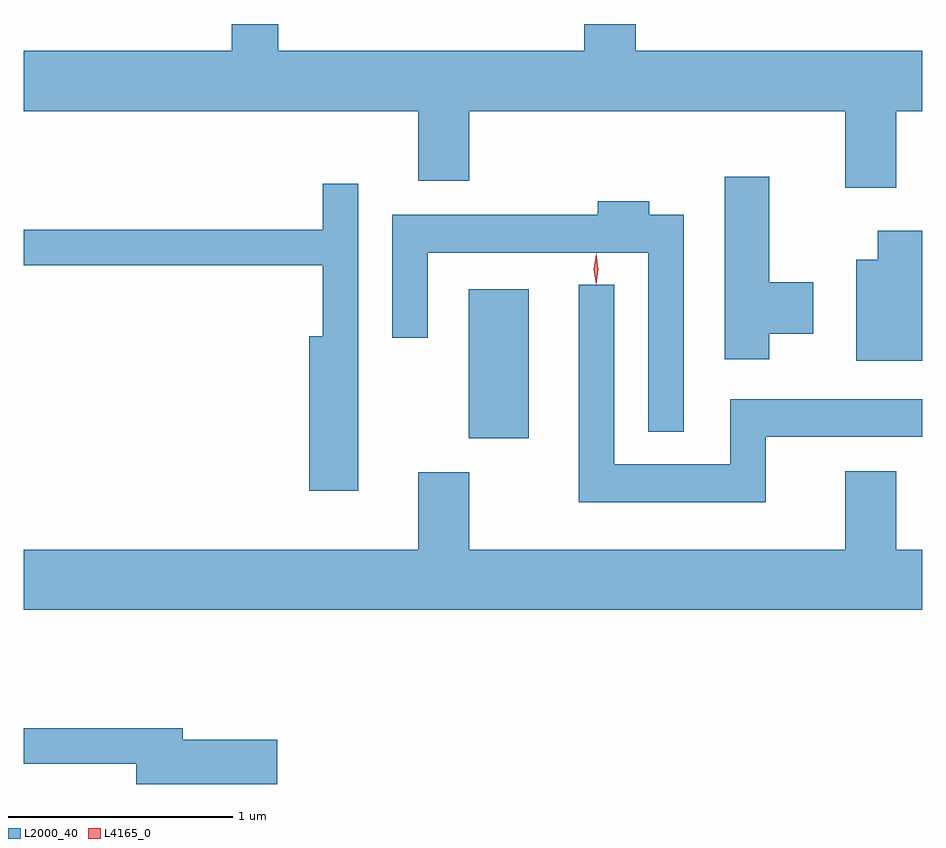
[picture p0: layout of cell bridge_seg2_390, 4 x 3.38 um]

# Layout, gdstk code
import gdstk
lib = gdstk.Library(unit=1e-6, precision=1e-09)
def R(c, l, rs):  # rectangles x0, y0, x1, y1
    for r in rs: c.add(gdstk.rectangle(r[:2], r[2:], *l))
def P(c, l, *ps):  # polygons
    for p in ps: c.add(gdstk.Polygon(p, *l))
L2000_40 = (2000, 40)
L4165_0 = (4165, 0)

bridge_seg2_390 = lib.new_cell('bridge_seg2_390')
R(bridge_seg2_390, L2000_40, [(631.146,1009.121,631.414,1009.784)])
P(bridge_seg2_390, L2000_40, [(633.049,1010.576),(633.165,1010.576),(633.165,1010.844),(631.889,1010.844),(631.889,1010.964),(631.661,1010.964),(631.661,1010.844),(630.299,1010.844),(630.299,1010.964),(630.091,1010.964),(630.091,1010.844),(629.165,1010.844),(629.165,1010.576),(630.921,1010.576),(630.921,1010.266),(631.149,1010.266),(631.149,1010.576),(632.821,1010.576),(632.821,1010.236),(633.049,1010.236)],
  [(632.484,1009.586),(632.679,1009.586),(632.679,1009.814),(632.484,1009.814),(632.484,1010.284),(632.286,1010.284),(632.286,1009.471),(632.484,1009.471)],
  [(630.654,1010.253),(630.496,1010.253),(630.496,1010.049),(629.165,1010.049),(629.165,1009.891),(630.496,1009.891),(630.496,1009.574),(630.436,1009.574),(630.436,1008.886),(630.654,1008.886)],
  [(632.104,1010.114),(631.949,1010.114),(631.949,1010.174),(631.721,1010.174),(631.721,1010.114),(630.806,1010.114),(630.806,1009.568),(630.964,1009.568),(630.964,1009.946),(631.946,1009.946),(631.946,1009.148),(632.104,1009.148)],
  [(633.165,1010.044),(632.966,1010.044),(632.966,1009.914),(632.871,1009.914),(632.871,1009.466),(633.165,1009.466)],
  [(632.469,1009.126),(633.165,1009.126),(633.165,1009.294),(632.311,1009.294),(632.311,1009.004),(631.794,1009.004),(631.794,1009.803),(631.636,1009.803),(631.636,1008.836),(632.469,1008.836)],
  [(633.165,1008.624),(633.049,1008.624),(633.049,1008.974),(632.821,1008.974),(632.821,1008.624),(631.149,1008.624),(631.149,1008.969),(630.921,1008.969),(630.921,1008.624),(629.165,1008.624),(629.165,1008.356),(633.165,1008.356)],
  [(630.294,1007.779),(629.874,1007.779),(629.874,1007.829),(629.165,1007.829),(629.165,1007.671),(629.666,1007.671),(629.666,1007.581),(630.294,1007.581)])
P(bridge_seg2_390, L4165_0, [(631.713,1009.803),(631.713,1009.804),(631.703,1009.873),(631.713,1009.942),(631.713,1009.943),(631.714,1009.942),(631.723,1009.873),(631.714,1009.804)])

lib.write_gds('bridge_seg2_390.gds')
